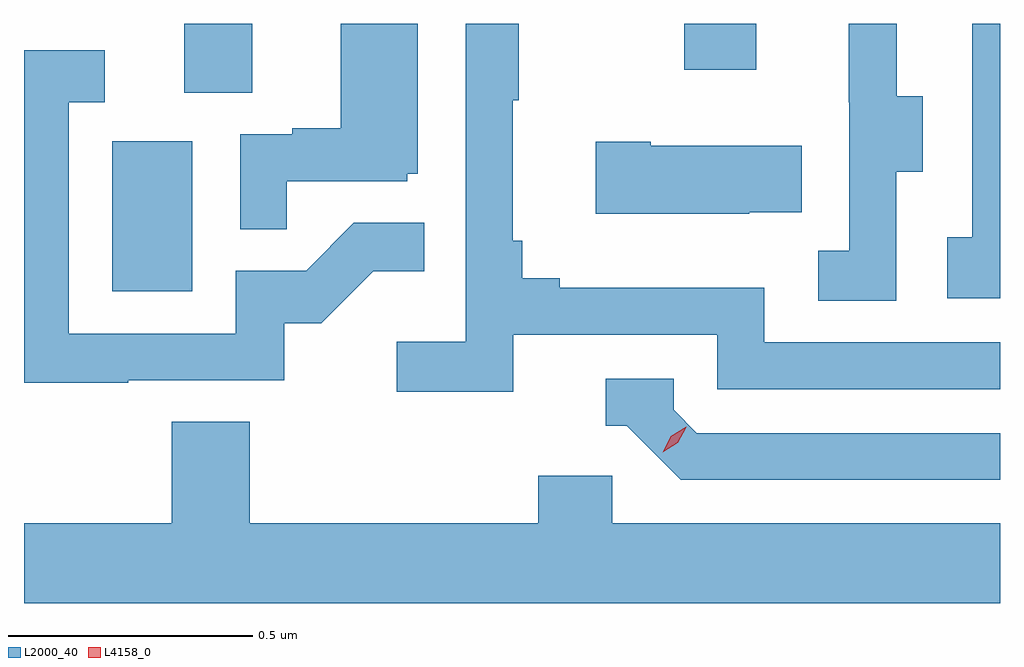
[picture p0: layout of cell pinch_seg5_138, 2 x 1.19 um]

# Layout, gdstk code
import gdstk
lib = gdstk.Library(unit=1e-6, precision=1e-09)
def R(c, l, rs):  # rectangles x0, y0, x1, y1
    for r in rs: c.add(gdstk.rectangle(r[:2], r[2:], *l))
def P(c, l, *ps):  # polygons
    for p in ps: c.add(gdstk.Polygon(p, *l))
L2000_40 = (2000, 40)
L4158_0 = (4158, 0)

pinch_seg5_138 = lib.new_cell('pinch_seg5_138')
R(pinch_seg5_138, L2000_40, [(1060.424,874.716,1060.588,875.023), (1060.571,875.122,1060.711,875.264), (1061.596,875.169,1061.743,875.264)])
P(pinch_seg5_138, L2000_40, [(1060.781,874.941),(1061.028,874.941),(1061.028,874.956),(1061.05,874.956),(1061.05,875.264),(1060.892,875.264),(1060.892,875.05),(1060.793,875.05),(1060.793,875.037),(1060.686,875.037),(1060.686,874.843),(1060.781,874.843)],
  [(1061.246,874.626),(1061.664,874.626),(1061.664,874.515),(1062.243,874.515),(1062.243,874.611),(1061.76,874.611),(1061.76,874.723),(1061.341,874.723),(1061.341,874.742),(1061.264,874.742),(1061.264,874.819),(1061.245,874.819),(1061.245,875.107),(1061.257,875.107),(1061.257,875.264),(1061.148,875.264),(1061.148,874.612),(1061.007,874.612),(1061.007,874.51),(1061.246,874.51)],
  [(1062.243,875.264),(1062.186,875.264),(1062.186,874.826),(1062.135,874.826),(1062.135,874.701),(1062.243,874.701)],
  [(1062.03,874.96),(1062.085,874.96),(1062.085,875.115),(1062.031,875.115),(1062.031,875.264),(1061.933,875.264),(1061.933,875.103),(1061.934,875.103),(1061.934,874.799),(1061.871,874.799),(1061.871,874.696),(1062.03,874.696)],
  [(1060.457,874.533),(1060.776,874.533),(1060.776,874.65),(1060.852,874.65),(1060.959,874.757),(1061.063,874.757),(1061.063,874.856),(1060.919,874.856),(1060.821,874.758),(1060.677,874.758),(1060.677,874.629),(1060.335,874.629),(1060.335,875.103),(1060.408,875.103),(1060.408,875.209),(1060.243,875.209),(1060.243,874.528),(1060.457,874.528)],
  [(1061.729,874.877),(1061.837,874.877),(1061.837,875.014),(1061.527,875.014),(1061.527,875.022),(1061.415,875.022),(1061.415,874.874),(1061.729,874.874)],
  [(1062.243,874.425),(1061.622,874.425),(1061.574,874.473),(1061.574,874.536),(1061.435,874.536),(1061.435,874.44),(1061.478,874.44),(1061.589,874.329),(1062.243,874.329)],
  [(1062.243,874.24),(1061.448,874.24),(1061.448,874.338),(1061.297,874.338),(1061.297,874.24),(1060.706,874.24),(1060.706,874.448),(1060.546,874.448),(1060.546,874.24),(1060.243,874.24),(1060.243,874.076),(1062.243,874.076)])
P(pinch_seg5_138, L4158_0, [(1061.552,874.386),(1061.552,874.386),(1061.568,874.418),(1061.6,874.438),(1061.6,874.438),(1061.6,874.437),(1061.583,874.405),(1061.552,874.386)])

lib.write_gds('pinch_seg5_138.gds')
